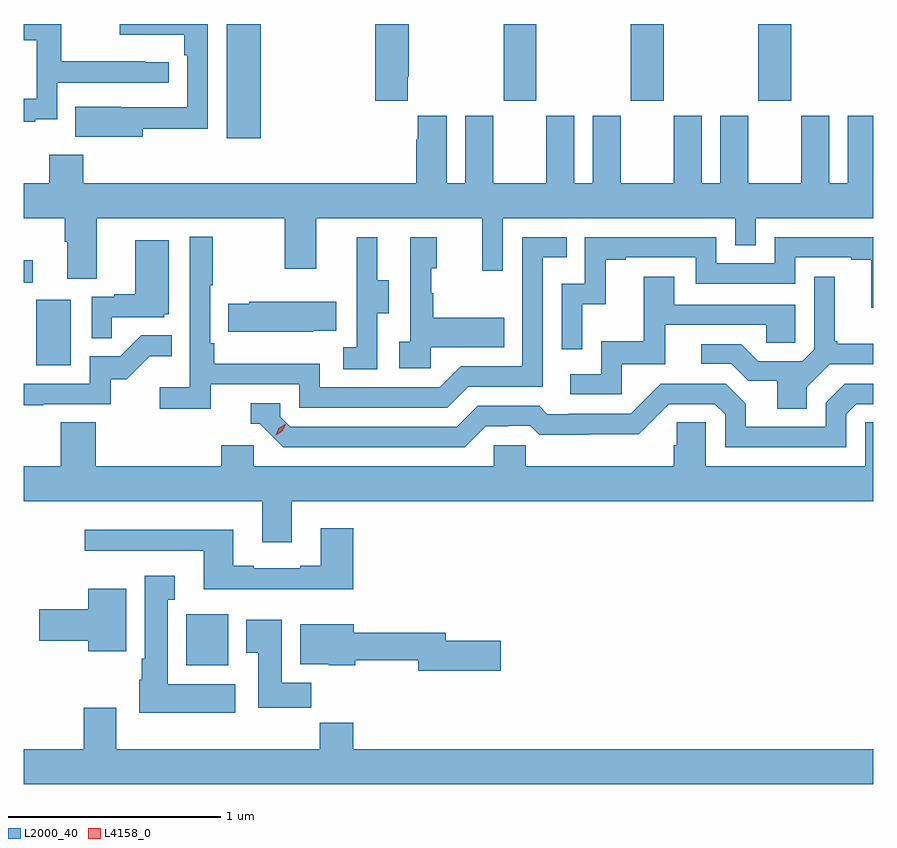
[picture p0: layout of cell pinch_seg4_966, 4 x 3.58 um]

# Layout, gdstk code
import gdstk
lib = gdstk.Library(unit=1e-6, precision=1e-09)
def R(c, l, rs):  # rectangles x0, y0, x1, y1
    for r in rs: c.add(gdstk.rectangle(r[:2], r[2:], *l))
def A(c, l, x, y, w, h, nx, ny, dx, dy):  # array of equal rectangles
    R(c, l, [(x+i*dx, y+j*dy, x+i*dx+w, y+j*dy+h) for i in range(nx) for j in range(ny)])
def P(c, l, *ps):  # polygons
    for p in ps: c.add(gdstk.Polygon(p, *l))
L2000_40 = (2000, 40)
L4158_0 = (4158, 0)

pinch_seg4_966 = lib.new_cell('pinch_seg4_966')
A(pinch_seg4_966, L2000_40, 892.351, 774.729, 0.155, 0.361, 3, 1, 0.6, 0)
R(pinch_seg4_966, L2000_40, [(890.858,772.07,891.055,772.312), (890.15,773.484,890.314,773.791), (890.092,773.871,890.134,773.977), (891.047,774.552,891.208,775.09)])
P(pinch_seg4_966, L2000_40, [(890.653,774.598),(890.958,774.598),(890.958,775.09),(890.544,775.09),(890.544,775.04),(890.849,775.04),(890.849,774.944),(890.862,774.944),(890.862,774.699),(890.549,774.699),(890.549,774.7),(890.335,774.7),(890.335,774.56),(890.653,774.56)],
  [(890.147,774.641),(890.25,774.641),(890.25,774.813),(890.776,774.813),(890.776,774.909),(890.663,774.909),(890.663,774.914),(890.27,774.914),(890.27,775.09),(890.092,775.09),(890.092,775.014),(890.154,775.014),(890.154,774.738),(890.092,774.738),(890.092,774.63),(890.147,774.63)],
  [(891.901,774.841),(891.906,774.841),(891.906,775.09),(891.746,775.09),(891.746,774.729),(891.901,774.729)],
  [(890.437,774.176),(891.322,774.176),(891.322,773.937),(891.469,773.937),(891.469,774.176),(892.25,774.176),(892.25,773.928),(892.347,773.928),(892.347,774.176),(893.442,774.176),(893.442,774.049),(893.538,774.049),(893.538,774.176),(894.092,774.176),(894.092,774.658),(893.972,774.658),(893.972,774.34),(893.884,774.34),(893.884,774.658),(893.753,774.658),(893.753,774.34),(893.503,774.34),(893.503,774.658),(893.372,774.658),(893.372,774.34),(893.284,774.34),(893.284,774.658),(893.153,774.658),(893.153,774.34),(892.903,774.34),(892.903,774.658),(892.772,774.658),(892.772,774.34),(892.684,774.34),(892.684,774.658),(892.553,774.658),(892.553,774.34),(892.303,774.34),(892.303,774.658),(892.172,774.658),(892.172,774.34),(892.084,774.34),(892.084,774.658),(891.947,774.658),(891.947,774.545),(891.941,774.545),(891.941,774.34),(890.372,774.34),(890.372,774.475),(890.212,774.475),(890.212,774.34),(890.092,774.34),(890.092,774.176),(890.285,774.176),(890.285,774.064),(890.297,774.064),(890.297,773.89),(890.437,773.89)],
  [(890.972,773.394),(891.39,773.394),(891.39,773.283),(892.087,773.283),(892.186,773.382),(892.536,773.382),(892.536,773.991),(892.649,773.991),(892.649,774.087),(892.44,774.087),(892.44,773.478),(892.149,773.478),(892.05,773.379),(891.486,773.379),(891.486,773.491),(890.99,773.491),(890.99,773.587),(890.97,773.587),(890.97,773.86),(890.983,773.86),(890.983,774.088),(890.874,774.088),(890.874,773.38),(890.733,773.38),(890.733,773.278),(890.972,773.278)],
  [(892.722,773.771),(892.832,773.771),(892.832,773.979),(892.927,773.979),(892.927,773.991),(893.256,773.991),(893.256,773.868),(893.724,773.868),(893.724,773.991),(893.987,773.991),(893.987,773.979),(894.083,773.979),(894.083,773.753),(894.092,773.753),(894.092,774.087),(893.628,774.087),(893.628,773.964),(893.352,773.964),(893.352,774.087),(892.734,774.087),(892.734,773.868),(892.626,773.868),(892.626,773.559),(892.722,773.559)],
  [(891.756,773.728),(891.811,773.728),(891.811,773.883),(891.757,773.883),(891.757,774.085),(891.659,774.085),(891.659,773.871),(891.66,773.871),(891.66,773.567),(891.597,773.567),(891.597,773.464),(891.756,773.464)],
  [(892.008,773.567),(892.355,773.567),(892.355,773.707),(892.021,773.707),(892.021,773.822),(892.011,773.822),(892.011,773.94),(892.036,773.94),(892.036,774.085),(891.912,774.085),(891.912,773.594),(891.861,773.594),(891.861,773.469),(892.008,773.469)],
  [(890.507,773.709),(890.754,773.709),(890.754,773.724),(890.776,773.724),(890.776,774.073),(890.618,774.073),(890.618,773.818),(890.519,773.818),(890.519,773.805),(890.412,773.805),(890.412,773.611),(890.507,773.611)],
  [(893.779,773.38),(893.886,773.487),(894.092,773.487),(894.092,773.584),(893.923,773.584),(893.923,773.596),(893.911,773.596),(893.911,773.899),(893.814,773.899),(893.814,773.559),(893.757,773.502),(893.551,773.502),(893.47,773.583),(893.283,773.583),(893.283,773.49),(893.424,773.49),(893.504,773.41),(893.639,773.41),(893.639,773.278),(893.779,773.278)],
  [(892.908,773.487),(893.113,773.487),(893.113,773.673),(893.587,773.673),(893.587,773.589),(893.724,773.589),(893.724,773.769),(893.155,773.769),(893.155,773.899),(893.011,773.899),(893.011,773.596),(892.812,773.596),(892.812,773.442),(892.665,773.442),(892.665,773.346),(892.908,773.346)],
  [(891.455,773.645),(891.563,773.645),(891.563,773.782),(891.153,773.782),(891.153,773.772),(891.055,773.772),(891.055,773.642),(891.455,773.642)],
  [(890.183,773.301),(890.502,773.301),(890.502,773.418),(890.578,773.418),(890.685,773.525),(890.789,773.525),(890.789,773.624),(890.645,773.624),(890.547,773.526),(890.403,773.526),(890.403,773.397),(890.092,773.397),(890.092,773.296),(890.183,773.296)],
  [(892.267,773.196),(892.374,773.196),(892.374,773.199),(892.477,773.199),(892.519,773.157),(892.752,773.157),(892.752,773.159),(892.988,773.159),(893.13,773.301),(893.346,773.301),(893.394,773.253),(893.394,773.097),(893.964,773.097),(893.964,773.253),(894.012,773.301),(894.092,773.301),(894.092,773.397),(893.958,773.397),(893.868,773.307),(893.868,773.193),(893.491,773.193),(893.491,773.303),(893.397,773.397),(893.091,773.397),(892.95,773.256),(892.657,773.256),(892.657,773.253),(892.558,773.253),(892.519,773.292),(892.23,773.292),(892.131,773.193),(891.348,773.193),(891.3,773.241),(891.3,773.304),(891.161,773.304),(891.161,773.208),(891.204,773.208),(891.315,773.097),(892.168,773.097)],
  [(891.355,772.844),(894.092,772.844),(894.092,773.216),(894.054,773.216),(894.054,773.008),(893.304,773.008),(893.304,773.216),(893.167,773.216),(893.167,773.106),(893.153,773.106),(893.153,773.008),(892.455,773.008),(892.455,773.106),(892.305,773.106),(892.305,773.008),(891.174,773.008),(891.174,773.106),(891.023,773.106),(891.023,773.008),(890.432,773.008),(890.432,773.216),(890.267,773.216),(890.267,773.008),(890.092,773.008),(890.092,772.844),(891.215,772.844),(891.215,772.65),(891.355,772.65)],
  [(891.644,772.717),(891.491,772.717),(891.491,772.54),(891.395,772.54),(891.395,772.527),(891.175,772.527),(891.175,772.54),(891.079,772.54),(891.079,772.708),(890.379,772.708),(890.379,772.611),(890.939,772.611),(890.939,772.43),(891.644,772.43)],
  [(891.088,771.982),(890.77,771.982),(890.77,772.379),(890.803,772.379),(890.803,772.492),(890.663,772.492),(890.663,772.102),(890.648,772.102),(890.648,772.002),(890.636,772.002),(890.636,771.848),(891.088,771.848)],
  [(890.575,772.432),(890.396,772.432),(890.396,772.334),(890.166,772.334),(890.166,772.187),(890.396,772.187),(890.396,772.136),(890.575,772.136)],
  [(891.446,771.988),(891.307,771.988),(891.307,772.285),(891.14,772.285),(891.14,772.129),(891.197,772.129),(891.197,771.87),(891.446,771.87)],
  [(892.339,772.187),(892.078,772.187),(892.078,772.223),(891.646,772.223),(891.646,772.264),(891.395,772.264),(891.395,772.076),(891.528,772.076),(891.528,772.07),(891.654,772.07),(891.654,772.095),(891.95,772.095),(891.95,772.045),(892.339,772.045)],
  [(894.092,771.676),(891.644,771.676),(891.644,771.8),(891.487,771.8),(891.487,771.676),(890.527,771.676),(890.527,771.871),(890.375,771.871),(890.375,771.676),(890.092,771.676),(890.092,771.512),(894.092,771.512)])
P(pinch_seg4_966, L4158_0, [(891.278,773.154),(891.278,773.154),(891.294,773.186),(891.324,773.206),(891.325,773.206),(891.325,773.206),(891.309,773.173),(891.279,773.154)])

lib.write_gds('pinch_seg4_966.gds')
